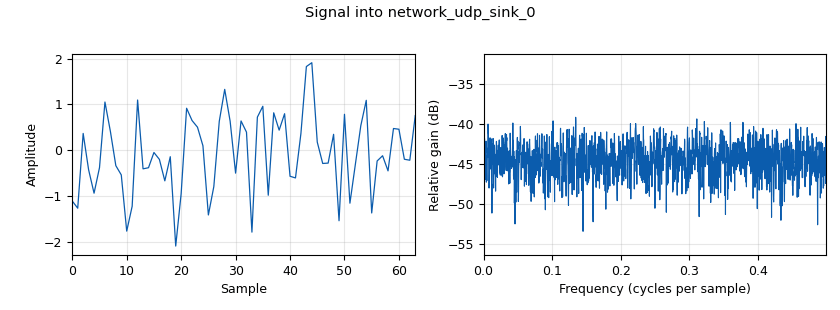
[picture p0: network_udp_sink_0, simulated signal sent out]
options:
  parameters:
    author: jishnu
    generate_options: no_gui
    id: stream_source
    output_language: python
    run_options: run
    title: Not titled yet
  states: {}

blocks:
- name: samp_rate
  id: variable
  parameters:
    value: '44100'
  states: {}
- name: analog_noise_source_x_0
  id: analog_noise_source_x
  parameters:
    amp: '1'
    noise_type: analog.GR_GAUSSIAN
    seed: '0'
    type: float
  states: {}
- name: network_udp_sink_0
  id: network_udp_sink
  parameters:
    addr: 192.168.1.2
    header: '0'
    payloadsize: '1472'
    port: '2000'
    send_eof: 'False'
    type: float
  states: {}

connections:
- [analog_noise_source_x_0, '0', network_udp_sink_0, '0']

metadata:
  file_format: 1
  grc_version: 3.10.3.0
